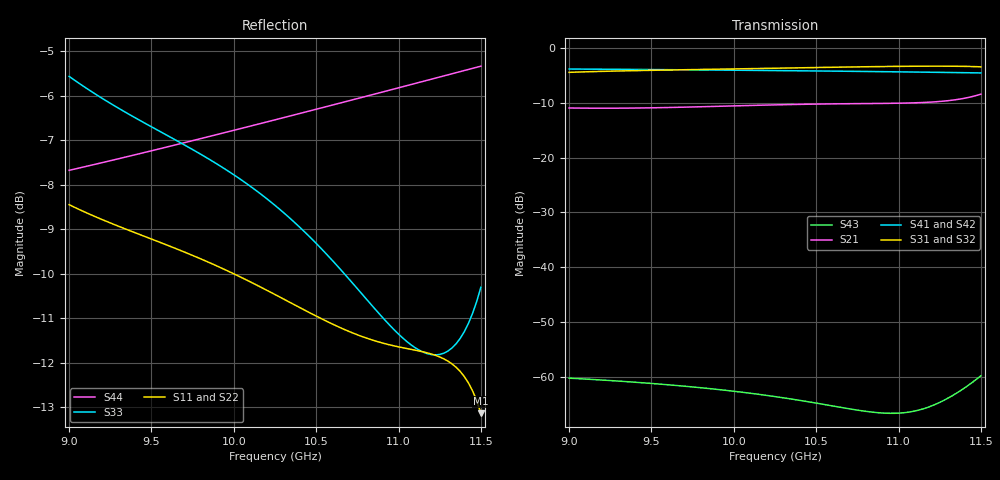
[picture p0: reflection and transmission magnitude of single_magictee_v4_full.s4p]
! Generated from PyAEDT SolutionData; AEDT ExportNetworkData workaround
# GHz S MA R 50
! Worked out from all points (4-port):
!   101 points, 9 GHz to 11.5 GHz, reference 50 ohm
!   strongest paths, dB at 9 GHz, 9.625 GHz, 10.25 GHz, 10.88 GHz, 11.5 GHz:
!     S31: -4.4, -4.0, -3.7, -3.4, -3.4
!     S32: -4.4, -4.0, -3.7, -3.4, -3.4
!     S41: -3.8, -3.9, -4.1, -4.3, -4.5
!     S42: -3.8, -4.0, -4.1, -4.3, -4.5
!     S21: -10.9, -10.8, -10.4, -10.1, -8.4
!     S43: -60.2, -61.5, -63.6, -66.5, -59.8
!   lowest |S11| = -13.1 dB at 11.5 GHz (marker M1), VSWR 1.56, Z = 43.8 + j20.2 ohm
!   |S11| at or under -10 dB: 9.999 GHz to end of sweep
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9  0.3781 3.8  0.2842 -71.8  0.601 -17.2  0.6443 45.3
   0.2842 -71.8  0.3798 3.8  0.6007 -17.2  0.6435 -134.6
   0.601 -17.2  0.6007 -17.2  0.5272 173.3  0.0009728 59.0
   0.6443 45.3  0.6435 -134.6  0.0009728 59.0  0.4133 -134.7
9.375  0.3531 -40.8  0.2836 -124.7  0.6218 -84.5  0.6389 3.0
       0.2836 -124.7  0.3547 -40.8  0.6215 -84.4  0.6384 -176.9
       0.6218 -84.5  0.6215 -84.4  0.4766 88.2  0.0008985 -11.2
       0.6389 3.0  0.6384 -176.9  0.0008985 -11.2  0.4292 -174.1
9.875  0.324 -97.6  0.2936 168.5  0.6411 -170.4  0.6308 -51.3
       0.2936 168.5  0.3255 -97.6  0.6406 -170.4  0.6305 128.8
       0.6411 -170.4  0.6406 -170.4  0.4227 -19.3  0.0007748 -104.8
       0.6308 -51.3  0.6305 128.8  0.0007748 -104.8  0.4524 134.7
10.175  0.3046 -130.0  0.3015 129.4  0.6522 139.2  0.6252 -83.1
        0.3015 129.4  0.306 -129.8  0.6517 139.3  0.6251 97.0
        0.6522 139.2  0.6517 139.3  0.3872 -81.7  0.0006849 -162.8
        0.6252 -83.1  0.6251 97.0  0.0006849 -162.8  0.4673 104.5
10.5  0.2834 -162.7  0.3083 87.8  0.6648 85.0  0.6186 -116.9
      0.3083 87.8  0.2847 -162.5  0.6641 85.0  0.6188 63.2
      0.6648 85.0  0.6641 85.0  0.3421 -149.3  0.000576 129.6
      0.6186 -116.9  0.6188 63.2  0.000576 129.6  0.4842 72.0
11.025  0.2611 148.6  0.3148 23.2  0.6818 -4.4  0.6065 -170.6
        0.3148 23.2  0.2622 149.0  0.6808 -4.3  0.6072 9.4
        0.6818 -4.4  0.6808 -4.3  0.2678 95.5  0.0004693 -7.3
        0.6065 -170.6  0.6072 9.4  0.0004693 -7.3  0.5132 20.1
11.5  0.2203 94.8  0.3801 -31.2  0.6743 -94.7  0.5936 141.4
      0.3801 -31.2  0.2211 95.8  0.6724 -94.6  0.5955 -38.6
      0.6743 -94.7  0.6724 -94.6  0.3054 -13.5  0.001023 -154.3
      0.5936 141.4  0.5955 -38.6  0.001023 -154.3  0.5413 -26.8
